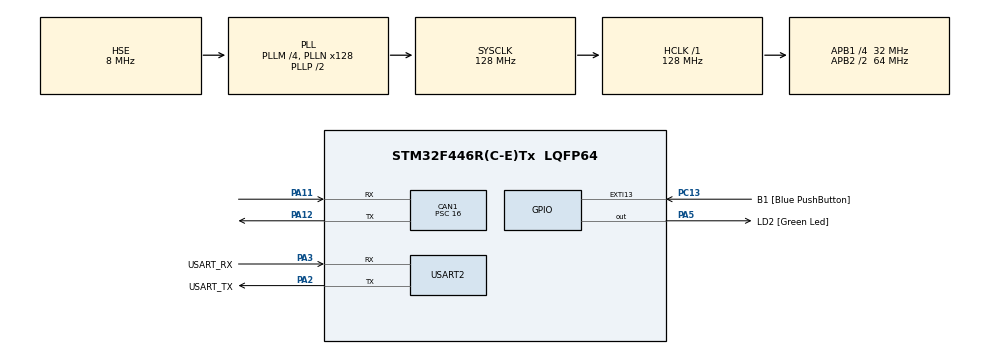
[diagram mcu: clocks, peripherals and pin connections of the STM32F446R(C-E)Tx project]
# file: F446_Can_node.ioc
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Mcu.Family=STM32F4
CAN1.NART=ENABLE
PH0-OSC_IN.Signal=RCC_OSC_IN
RCC.CortexFreq_Value=128000000
PA14.GPIO_Label=TCK
PA11.Mode=CAN_Activate
PC13.GPIO_Label=B1 [Blue PushButton]
RCC.SYSCLKSource=RCC_SYSCLKSOURCE_PLLCLK
ProjectManager.StackSize=0x400
PA12.Signal=CAN1_TX
RCC.HCLKFreq_Value=128000000
RCC.APB2TimFreq_Value=128000000
RCC.AHBFreq_Value=128000000
PH0-OSC_IN.Mode=HSE-External-Oscillator
RCC.HSE_VALUE=8000000
PA14.Mode=Serial_Wire
TIM3.Prescaler=3200
RCC.FLatency-AdvancedSettings=FLASH_LATENCY_4
PH1-OSC_OUT.Mode=HSE-External-Oscillator
CAN1.Prescaler=16
Mcu.Package=LQFP64
USART2.VirtualMode=VM_ASYNC
PA2.GPIO_Label=USART_TX
RCC.APB2CLKDivider=RCC_HCLK_DIV2
RCC.APB1TimFreq_Value=64000000
CAN1.CalculateTimeBit=8000.00
VP_TIM3_VS_ClockSourceINT.Mode=Internal
CAN1.CalculateTimeQuantum=500.0
PA3.Signal=USART2_RX
RCC.PLLSourceVirtual=RCC_PLLSOURCE_HSE
TIM3.AutoReloadPreload=TIM_AUTORELOAD_PRELOAD_DISABLE
PC13.Signal=GPXTI13
CAN1.CalculateBaudRate=125000
RCC.APB1CLKDivider=RCC_HCLK_DIV4
PA3.Mode=Asynchronous
PA13.Signal=SYS_JTMS-SWDIO
CAN1.BS2=CAN_BS2_2TQ
CAN1.BS1=CAN_BS1_13TQ
ProjectManager.TargetToolchain=STM32CubeIDE
RCC.USBFreq_Value=128000000
PA5.Signal=GPIO_Output
board=NUCLEO-F446RE
RCC.VCOOutputFreq_Value=256000000
RCC.APB2Freq_Value=64000000
PH1-OSC_OUT.Signal=RCC_OSC_OUT
PA13.Mode=Serial_Wire
Mcu.Name=STM32F446R(C-E)Tx
PA13.GPIO_Label=TMS
PA2.Signal=USART2_TX
RCC.48MHZClocksFreq_Value=84000000
RCC.SYSCLKFreq_VALUE=128000000
PA12.Mode=CAN_Activate
PA5.GPIO_Label=LD2 [Green Led]
PC13.GPIO_ModeDefaultEXTI=GPIO_MODE_IT_FALLING
PA11.Signal=CAN1_RX
PA14.Signal=SYS_JTCK-SWCLK
ProjectManager.HeapSize=0x200
RCC.HSI_VALUE=16000000
NVIC.PriorityGroup=NVIC_PRIORITYGROUP_0
RCC.PLLM=4
RCC.PLLN=128
PA2.Mode=Asynchronous
TIM3.TIM_MasterOutputTrigger=TIM_TRGO_RESET
RCC.APB1Freq_Value=32000000
VP_CRC_VS_CRC.Mode=CRC_Activate
NVIC.CAN1_RX0_IRQn=true\:0\:0\:false\:false\:true\:true\:true
PA3.GPIO_Label=USART_RX

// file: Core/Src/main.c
/* USER CODE BEGIN Header */
/**
 ******************************************************************************
 * @file           : main.c
 * @brief          : Main program body
 ******************************************************************************
 * @attention
 *
 * <h2><center>&copy; Copyright (c) 2020 STMicroelectronics.
 * All rights reserved.</center></h2>
 *
 * This software component is licensed by ST under BSD 3-Clause license,
 * the "License"; You may not use this file except in compliance with the
 * License. You may obtain a copy of the License at:
 *                        opensource.org/licenses/BSD-3-Clause
 *
 ******************************************************************************
 */
/* USER CODE END Header */
#include "main.h"
#include "can.h"
#include "crc.h"
#include "tim.h"
#include "usart.h"
#include "gpio.h"

/* USER CODE BEGIN Includes */
#include "retarget.h"
#include <stdio.h>
#include "stdbool.h"
#include <math.h>
#include "Odrive_CanIf.h"
/* USER CODE END Includes */

/* USER CODE BEGIN PD */
#define AllSystem_IN_BUSY              1
#define AllSystem_IN_NO_ACTIVE_CHILD   0
#define AllSystem_IN_RISE_INPUT_ERROR2 1
#define AllSystem_IN_SPINNING          2
#define AllSystem_IN_STEERING          3
#define AllSystem_IN_STOP              4
#define AllSystem_IN_STRAIGHT_DRIVE    5
#define AllSystem_IN_Safe_drive        2
#define AllSystem_range                0.01
/* USER CODE END PD */

/* USER CODE BEGIN PV */
uint8_t r[4];
float Vel;
int Steer_deg;

uint8_t cnt_val_8msb = 0;
uint32_t cnt_val = 0, cnt_val_prev = 0;

struct Ext_AllSystem_U{
  float sigma_in_deg;               /* '<Root>/sigma_in_deg' */
  float v_in_norm;                  /* '<Root>/v_in_norm' */
  float v_max_ms;                   /* '<Root>/v_max_ms' */
  float encoder_steer_deg[4];       /* '<Root>/alpha_feed_deg' */
} ;

struct Ext_AllSystem_Y{
  float alpha_out_deg[6];           /* '<Root>/alpha_out_deg ' */
  float w_out_rad_s[6];               /* '<Root>/w_out_rad_s ' */
  bool flag_stop;                 /* '<Root>/flag_stop' */
  bool flag_straight;             /* '<Root>/flag_straight' */
  bool flag_steering;             /* '<Root>/flag_steering' */
  bool flag_busy;                 /* '<Root>/flag_busy' */
  bool flag_spinning;             /* '<Root>/flag_spinning' */
  bool input_error_flag;          /* '<Root>/input_error_flag' */
};

struct DW_AllSystem_T{
  long temporalCounter_i1;         /* '<S1>/State_selection' */
  int is_active_c3_AllSystem;      /* '<S1>/State_selection' */
  int is_c3_AllSystem;             /* '<S1>/State_selection' */
  int is_Safe_drive;               /* '<S1>/State_selection' */
};

struct B_AllSystem_T{
  float alpha_out_rad[6];           /* '<S1>/Merge1' */
  float v_out_ms[6];                /* '<S1>/Merge' */
};

struct Ext_AllSystem_U AllSystem_U;
struct Ext_AllSystem_Y AllSystem_Y;
struct DW_AllSystem_T AllSystem_DW;
struct B_AllSystem_T AllSystem_B;
/* USER CODE END PV */

void SystemClock_Config(void);
/* USER CODE BEGIN PFP */
void send_Steer_Deg(int arg);
void send_Odrive_vel(float arg);
void Odrive_status_check(void);
/* USER CODE END PFP */

int main(void) {
	/* USER CODE BEGIN 1 */
	AllSystem_U.sigma_in_deg = 15;
	AllSystem_U.v_in_norm = 0.5;
	AllSystem_U.v_max_ms = 2;
	/* USER CODE END 1 */

	/* MCU Configuration--------------------------------------------------------*/

	/* Reset of all peripherals, Initializes the Flash interface and the Systick. */
	HAL_Init();

	/* Configure the system clock */
	SystemClock_Config();

	/* Initialize all configured peripherals */
	MX_GPIO_Init();
	MX_USART2_UART_Init();
	MX_CAN1_Init();
	MX_CRC_Init();
	MX_TIM3_Init();
	/* USER CODE BEGIN 2 */
	RetargetInit(&huart2);
	printf("Configuring Can Register ...\n");

	uint8_t Timeout = 20;
	uint8_t tx_buffer[50];
	uint8_t tx_buff_size;

	tx_buff_size = sprintf((char*) tx_buffer, "HEllo word \n");
	HAL_UART_Transmit(&huart2, tx_buffer, tx_buff_size, Timeout);

	TxHeader_Config();
	CanRxFilterConfig();

	HAL_CAN_Start(&hcan1);
	if ((HAL_CAN_ActivateNotification(&hcan1, CAN_IT_RX_FIFO0_MSG_PENDING)
			== HAL_OK))
		printf("CAN Configuring: DONE !\n\n");
	else
		printf("Can non parte\n");

	/* USER CODE END 2 */

	/* Infinite loop */
	/* USER CODE BEGIN WHILE */

	pTxHeader.IDE = CAN_ID_STD;
	pTxHeader.StdId = CanID_Generate(0x5, ODR_Reboot);

	//  int state = 8;

	r[0] = 0;
	r[1] = 0;
	r[2] = 0;
	r[3] = 0;

	if (HAL_CAN_AddTxMessage(&hcan1, &pTxHeader, r, &TxMailbox) == HAL_OK) {
		HAL_UART_Transmit(&huart2, (uint8_t*) "Odrv_reset\n", 12, 10);
	}

	HAL_Delay(100);

	//Odrive_status_check(); //check the status of the odrives before starting to send velocity data

   // start

//quasi sempre parte, ogni tanto un asse si pianta con errore sul controllere SPINOUT_DETECTED

	/*The motor mechanical power and electrical power do not agree.
	 *  This is usually caused by a slipping encoder or incorrect encoder offset calibration.
	 *   Check that your encoder is not slipping on the motor.
	 *   If using an Index pin, check that you are not getting false index pulses caused by noise.
	 *  This can happen if you are using unshielded cable for the encoder signals.
	 *
	 */
	while (1) {
		/* USER CODE END WHILE */

		/* USER CODE BEGIN 3 */
		//before send the velocity, the actuAL STATUS SHOULD BE CHECKED
		send_Odrive_vel(5);

		send_Steer_Deg(0);

		HAL_Delay(300);

//	  // SWITCH OFF
//	  pTxHeader.IDE = CAN_ID_STD;
//	  pTxHeader.StdId = CanID_Generate(0x5, ODR_Set_InputVel);
//
//	  Vel = 0.0;
//
//	  *(float*)r = Vel;  // float to 4 bytes
//
//	  if(HAL_CAN_AddTxMessage(&hcan1, &pTxHeader, r, &TxMailbox) == HAL_OK)
//	  {
//		HAL_UART_Transmit(&huart2, (uint8_t*)"S1_f - " , 6, 10);
//	  }
//
//	  pTxHeader.StdId = CanID_Generate(0x6, ODR_Set_InputVel);
//	  if(HAL_CAN_AddTxMessage(&hcan1, &pTxHeader, r, &TxMailbox) == HAL_OK)
//	  {
//		HAL_UART_Transmit(&huart2, (uint8_t*)"S2_f\n" , 6, 10);
//	  }
//
//
//	  HAL_Delay(500);
	}
	/* USER CODE END 3 */
}

void SystemClock_Config(void) {
	RCC_OscInitTypeDef RCC_OscInitStruct = { 0 };
	RCC_ClkInitTypeDef RCC_ClkInitStruct = { 0 };

	/** Configure the main internal regulator output voltage
	 */
	__HAL_RCC_PWR_CLK_ENABLE();
	__HAL_PWR_VOLTAGESCALING_CONFIG(PWR_REGULATOR_VOLTAGE_SCALE2);
	/** Initializes the RCC Oscillators according to the specified parameters
	 * in the RCC_OscInitTypeDef structure.
	 */
	RCC_OscInitStruct.OscillatorType = RCC_OSCILLATORTYPE_HSE;
	RCC_OscInitStruct.HSEState = RCC_HSE_ON;
	RCC_OscInitStruct.PLL.PLLState = RCC_PLL_ON;
	RCC_OscInitStruct.PLL.PLLSource = RCC_PLLSOURCE_HSE;
	RCC_OscInitStruct.PLL.PLLM = 4;
	RCC_OscInitStruct.PLL.PLLN = 128;
	RCC_OscInitStruct.PLL.PLLP = RCC_PLLP_DIV2;
	RCC_OscInitStruct.PLL.PLLQ = 2;
	RCC_OscInitStruct.PLL.PLLR = 2;
	if (HAL_RCC_OscConfig(&RCC_OscInitStruct) != HAL_OK) {
		Error_Handler();
	}
	/** Initializes the CPU, AHB and APB buses clocks
	 */
	RCC_ClkInitStruct.ClockType = RCC_CLOCKTYPE_HCLK | RCC_CLOCKTYPE_SYSCLK
			| RCC_CLOCKTYPE_PCLK1 | RCC_CLOCKTYPE_PCLK2;
	RCC_ClkInitStruct.SYSCLKSource = RCC_SYSCLKSOURCE_PLLCLK;
	RCC_ClkInitStruct.AHBCLKDivider = RCC_SYSCLK_DIV1;
	RCC_ClkInitStruct.APB1CLKDivider = RCC_HCLK_DIV4;
	RCC_ClkInitStruct.APB2CLKDivider = RCC_HCLK_DIV2;

	if (HAL_RCC_ClockConfig(&RCC_ClkInitStruct, FLASH_LATENCY_4) != HAL_OK) {
		Error_Handler();
	}
}

/* USER CODE BEGIN 4 */

void HAL_CAN_RxFifo0MsgPendingCallback(CAN_HandleTypeDef *hcan)

{

	if (HAL_CAN_GetRxMessage(&hcan1, CAN_RX_FIFO0, &pRxHeader, r) == HAL_OK)
		HAL_GPIO_TogglePin(LD2_GPIO_Port, LD2_Pin);

	if ((pRxHeader.StdId == 0x0A1) && (pRxHeader.IDE == CAN_ID_STD)
			&& (pRxHeader.DLC == 8)) {
		HAL_UART_Transmit(&huart2, (uint8_t*) "Odrv3\n", 7, 10);
	}

	if ((pRxHeader.ExtId == 0x00000154) && (pRxHeader.IDE == CAN_ID_EXT)
			&& (pRxHeader.DLC == 4)) {
		HAL_UART_Transmit(&huart2, (uint8_t*) "StpBrd\n", 8, 10);
	}
}

void send_Steer_Deg(int arg) {
	pTxHeader.IDE = CAN_ID_STD;
	pTxHeader.StdId = 0x140;

	int Steer_deg = arg;

	*(int*) r = Steer_deg;	 // float to bytes

	if (HAL_CAN_AddTxMessage(&hcan1, &pTxHeader, r, &TxMailbox) == HAL_OK) {
		HAL_UART_Transmit(&huart2, (uint8_t*) "steer_to_stepper\n -", 18, 10);
	}
}

void send_Odrive_vel(float arg) {

	pTxHeader.IDE = CAN_ID_STD;
	pTxHeader.StdId = CanID_Generate(0x5, ODR_Set_InputVel);

	Vel = arg;

	*(float*) r = Vel;	 // float to bytes

	if (HAL_CAN_AddTxMessage(&hcan1, &pTxHeader, r, &TxMailbox) == HAL_OK) {
		HAL_UART_Transmit(&huart2, (uint8_t*) "S1_o -", 4, 10);
	}

	pTxHeader.StdId = CanID_Generate(0x6, ODR_Set_InputVel);
	if (HAL_CAN_AddTxMessage(&hcan1, &pTxHeader, r, &TxMailbox) == HAL_OK) {
		HAL_UART_Transmit(&huart2, (uint8_t*) "S2_o\n", 6, 10);
	}
}

void Odrive_status_check(void) {
	printf("Checking Odrive Status...\n");
	pTxHeader.IDE = CAN_ID_STD;
	pTxHeader.StdId = CanID_Generate(0x5, ODR_Set_InputVel);

}

static void AllSystem_Safe_drive(const bool *bool_i, const float *Product1)
{
  float tmp_0;
  float tmp;

  /* Inport: '<Root>/sigma_in_deg' */
  tmp = fabsf(AllSystem_U.sigma_in_deg);

  /* Constant: '<S1>/sigma_max_deg' */
  if ((tmp > 35.0F) && (fabsf(tmp - 90.0F) >= AllSystem_range)) {
    AllSystem_DW.is_Safe_drive = AllSystem_IN_NO_ACTIVE_CHILD;
    AllSystem_DW.is_c3_AllSystem = AllSystem_IN_RISE_INPUT_ERROR2;

    /* Outport: '<Root>/flag_stop' */
    AllSystem_Y.flag_stop = 0;

    /* Outport: '<Root>/flag_straight' */
    AllSystem_Y.flag_straight = 0;

    /* Outport: '<Root>/flag_steering' */
    AllSystem_Y.flag_steering = 0;

    /* Outport: '<Root>/flag_busy' */
    AllSystem_Y.flag_busy = 0;

    /* Outport: '<Root>/flag_spinning' */
    AllSystem_Y.flag_spinning = 0;

    /* Outport: '<Root>/input_error_flag' */
    AllSystem_Y.input_error_flag = 1;
  } else {
    switch (AllSystem_DW.is_Safe_drive) {
     case AllSystem_IN_BUSY:
      if ((AllSystem_DW.temporalCounter_i1 >= 180000U) && (!*bool_i)) {
        AllSystem_DW.is_Safe_drive = AllSystem_IN_STOP;

        /* Outport: '<Root>/flag_stop' */
        AllSystem_Y.flag_stop = 1;

        /* Outport: '<Root>/flag_straight' */
        AllSystem_Y.flag_straight = 0;

        /* Outport: '<Root>/flag_steering' */
        AllSystem_Y.flag_steering = 0;

        /* Outport: '<Root>/flag_busy' */
        AllSystem_Y.flag_busy = 0;

        /* Outport: '<Root>/flag_spinning' */
        AllSystem_Y.flag_spinning = 0;

        /* Outport: '<Root>/input_error_flag' */
        AllSystem_Y.input_error_flag = 0;
      } else if (!*bool_i) {
        AllSystem_DW.is_Safe_drive = AllSystem_IN_BUSY;
        AllSystem_DW.temporalCounter_i1 = 0U;

        /* Outport: '<Root>/flag_stop' */
        AllSystem_Y.flag_stop = 0;

        /* Outport: '<Root>/flag_straight' */
        AllSystem_Y.flag_straight = 0;

        /* Outport: '<Root>/flag_steering' */
        AllSystem_Y.flag_steering = 0;

        /* Outport: '<Root>/flag_busy' */
        AllSystem_Y.flag_busy = 1;

        /* Outport: '<Root>/flag_spinning' */
        AllSystem_Y.flag_spinning = 0;

        /* Outport: '<Root>/input_error_flag' */
        AllSystem_Y.input_error_flag = 0;
      } else {
        AllSystem_DW.is_Safe_drive = AllSystem_IN_SPINNING;

        /* Outport: '<Root>/flag_stop' */
        AllSystem_Y.flag_stop = 0;

        /* Outport: '<Root>/flag_straight' */
        AllSystem_Y.flag_straight = 0;

        /* Outport: '<Root>/flag_steering' */
        AllSystem_Y.flag_steering = 0;

        /* Outport: '<Root>/flag_busy' */
        AllSystem_Y.flag_busy = 0;

        /* Outport: '<Root>/flag_spinning' */
        AllSystem_Y.flag_spinning = 1;

        /* Outport: '<Root>/input_error_flag' */
        AllSystem_Y.input_error_flag = 0;
      }
      break;

     case AllSystem_IN_SPINNING:
      /* Outport: '<Root>/flag_stop' */
      AllSystem_Y.flag_stop = 0;

      /* Outport: '<Root>/flag_straight' */
      AllSystem_Y.flag_straight = 0;

      /* Outport: '<Root>/flag_steering' */
      AllSystem_Y.flag_steering = 0;

      /* Outport: '<Root>/flag_busy' */
      AllSystem_Y.flag_busy = 0;

      /* Outport: '<Root>/flag_spinning' */
      AllSystem_Y.flag_spinning = 1;

      /* Outport: '<Root>/input_error_flag' */
      AllSystem_Y.input_error_flag = 0;

      /* Inport: '<Root>/sigma_in_deg' */
      if (fabsf(fabsf(AllSystem_U.sigma_in_deg) - 90.0F) >= AllSystem_range) {
        AllSystem_DW.is_Safe_drive = AllSystem_IN_STOP;

        /* Outport: '<Root>/flag_stop' */
        AllSystem_Y.flag_stop = 1;

        /* Outport: '<Root>/flag_straight' */
        AllSystem_Y.flag_straight = 0;

        /* Outport: '<Root>/flag_steering' */
        AllSystem_Y.flag_steering = 0;

        /* Outport: '<Root>/flag_busy' */
        AllSystem_Y.flag_busy = 0;

        /* Outport: '<Root>/flag_spinning' */
        AllSystem_Y.flag_spinning = 0;

        /* Outport: '<Root>/input_error_flag' */
        AllSystem_Y.input_error_flag = 0;
      }
      break;

     case AllSystem_IN_STEERING:
      /* Outport: '<Root>/flag_stop' */
      AllSystem_Y.flag_stop = 0;

      /* Outport: '<Root>/flag_straight' */
      AllSystem_Y.flag_straight = 0;

      /* Outport: '<Root>/flag_steering' */
      AllSystem_Y.flag_steering = 1;

      /* Outport: '<Root>/flag_busy' */
      AllSystem_Y.flag_busy = 0;

      /* Outport: '<Root>/flag_spinning' */
      AllSystem_Y.flag_spinning = 0;

      /* Outport: '<Root>/input_error_flag' */
      AllSystem_Y.input_error_flag = 0;

      /* Inport: '<Root>/sigma_in_deg' */
      if ((tmp <= AllSystem_range) || (tmp > 35.0F)) {
        AllSystem_DW.is_Safe_drive = AllSystem_IN_STOP;

        /* Outport: '<Root>/flag_stop' */
        AllSystem_Y.flag_stop = 1;

        /* Outport: '<Root>/flag_straight' */
        AllSystem_Y.flag_straight = 0;

        /* Outport: '<Root>/flag_steering' */
        AllSystem_Y.flag_steering = 0;

        /* Outport: '<Root>/flag_busy' */
        AllSystem_Y.flag_busy = 0;

        /* Outport: '<Root>/flag_spinning' */
        AllSystem_Y.flag_spinning = 0;

        /* Outport: '<Root>/input_error_flag' */
        AllSystem_Y.input_error_flag = 0;
      } else {
        if (fabsf(AllSystem_U.sigma_in_deg) <= AllSystem_range) {
          AllSystem_DW.is_Safe_drive = AllSystem_IN_STRAIGHT_DRIVE;

          /* Outport: '<Root>/flag_stop' */
          AllSystem_Y.flag_stop = 0;

          /* Outport: '<Root>/flag_straight' */
          AllSystem_Y.flag_straight = 1;

          /* Outport: '<Root>/flag_steering' */
          AllSystem_Y.flag_steering = 0;

          /* Outport: '<Root>/flag_busy' */
          AllSystem_Y.flag_busy = 0;

          /* Outport: '<Root>/flag_spinning' */
          AllSystem_Y.flag_spinning = 0;

          /* Outport: '<Root>/input_error_flag' */
          AllSystem_Y.input_error_flag = 0;
        }
      }
      break;

     case AllSystem_IN_STOP:
      /* Outport: '<Root>/flag_stop' */
      AllSystem_Y.flag_stop = 1;

      /* Outport: '<Root>/flag_straight' */
      AllSystem_Y.flag_straight = 0;

      /* Outport: '<Root>/flag_steering' */
      AllSystem_Y.flag_steering = 0;

      /* Outport: '<Root>/flag_busy' */
      AllSystem_Y.flag_busy = 0;

      /* Outport: '<Root>/flag_spinning' */
      AllSystem_Y.flag_spinning = 0;

      /* Outport: '<Root>/input_error_flag' */
      AllSystem_Y.input_error_flag = 0;
      if (!*bool_i) {
        AllSystem_DW.is_Safe_drive = AllSystem_IN_STOP;

        /* Outport: '<Root>/flag_stop' */
        AllSystem_Y.flag_stop = 1;

        /* Outport: '<Root>/flag_straight' */
        AllSystem_Y.flag_straight = 0;

        /* Outport: '<Root>/flag_steering' */
        AllSystem_Y.flag_steering = 0;

        /* Outport: '<Root>/flag_busy' */
        AllSystem_Y.flag_busy = 0;

        /* Outport: '<Root>/flag_spinning' */
        AllSystem_Y.flag_spinning = 0;

        /* Outport: '<Root>/input_error_flag' */
        AllSystem_Y.input_error_flag = 0;
      } else {
        /* Inport: '<Root>/sigma_in_deg' */
        tmp_0 = fabsf(AllSystem_U.sigma_in_deg);

        /* Inport: '<Root>/sigma_in_deg' */
        if ((tmp_0 >= AllSystem_range) && (tmp < 35.0F)) {
          AllSystem_DW.is_Safe_drive = AllSystem_IN_STEERING;

          /* Outport: '<Root>/flag_stop' */
          AllSystem_Y.flag_stop = 0;

          /* Outport: '<Root>/flag_straight' */
          AllSystem_Y.flag_straight = 0;

          /* Outport: '<Root>/flag_steering' */
          AllSystem_Y.flag_steering = 1;

          /* Outport: '<Root>/flag_busy' */
          AllSystem_Y.flag_busy = 0;

          /* Outport: '<Root>/flag_spinning' */
          AllSystem_Y.flag_spinning = 0;

          /* Outport: '<Root>/input_error_flag' */
          AllSystem_Y.input_error_flag = 0;
        } else if (fabsf(fabsf(AllSystem_U.sigma_in_deg) - 90.0F) <=
                   AllSystem_range) {
          AllSystem_DW.is_Safe_drive = AllSystem_IN_BUSY;
          AllSystem_DW.temporalCounter_i1 = 0U;

          /* Outport: '<Root>/flag_stop' */
          AllSystem_Y.flag_stop = 0;

          /* Outport: '<Root>/flag_straight' */
          AllSystem_Y.flag_straight = 0;

          /* Outport: '<Root>/flag_steering' */
          AllSystem_Y.flag_steering = 0;

          /* Outport: '<Root>/flag_busy' */
          AllSystem_Y.flag_busy = 1;

          /* Outport: '<Root>/flag_spinning' */
          AllSystem_Y.flag_spinning = 0;

          /* Outport: '<Root>/input_error_flag' */
          AllSystem_Y.input_error_flag = 0;
        } else {
          if ((fabsf(*Product1) >= AllSystem_range) && (tmp_0 <= AllSystem_range))
          {
            AllSystem_DW.is_Safe_drive = AllSystem_IN_STRAIGHT_DRIVE;

            /* Outport: '<Root>/flag_stop' */
            AllSystem_Y.flag_stop = 0;

            /* Outport: '<Root>/flag_straight' */
            AllSystem_Y.flag_straight = 1;

            /* Outport: '<Root>/flag_steering' */
            AllSystem_Y.flag_steering = 0;

            /* Outport: '<Root>/flag_busy' */
            AllSystem_Y.flag_busy = 0;

            /* Outport: '<Root>/flag_spinning' */
            AllSystem_Y.flag_spinning = 0;

            /* Outport: '<Root>/input_error_flag' */
            AllSystem_Y.input_error_flag = 0;
          }
        }
      }
      break;

     default:
      /* Outport: '<Root>/flag_stop' */
      /* case IN_STRAIGHT_DRIVE: */
      AllSystem_Y.flag_stop = 0;

      /* Outport: '<Root>/flag_straight' */
      AllSystem_Y.flag_straight = 1;

      /* Outport: '<Root>/flag_steering' */
      AllSystem_Y.flag_steering = 0;

      /* Outport: '<Root>/flag_busy' */
      AllSystem_Y.flag_busy = 0;

      /* Outport: '<Root>/flag_spinning' */
      AllSystem_Y.flag_spinning = 0;

      /* Outport: '<Root>/input_error_flag' */
      AllSystem_Y.input_error_flag = 0;

      /* Inport: '<Root>/sigma_in_deg' */
      tmp_0 = fabsf(AllSystem_U.sigma_in_deg);
      if ((tmp_0 >= AllSystem_range) && (tmp < 35.0F)) {
        AllSystem_DW.is_Safe_drive = AllSystem_IN_STEERING;

        /* Outport: '<Root>/flag_stop' */
        AllSystem_Y.flag_stop = 0;

        /* Outport: '<Root>/flag_straight' */
        AllSystem_Y.flag_straight = 0;

        /* Outport: '<Root>/flag_steering' */
        AllSystem_Y.flag_steering = 1;

        /* Outport: '<Root>/flag_busy' */
        AllSystem_Y.flag_busy = 0;

        /* Outport: '<Root>/flag_spinning' */
        AllSystem_Y.flag_spinning = 0;

        /* Outport: '<Root>/input_error_flag' */
        AllSystem_Y.input_error_flag = 0;
      } else {
        if ((fabsf(*Product1) <= AllSystem_range) || (tmp_0 >= AllSystem_range))
        {
          AllSystem_DW.is_Safe_drive = AllSystem_IN_STOP;

          /* Outport: '<Root>/flag_stop' */
          AllSystem_Y.flag_stop = 1;

          /* Outport: '<Root>/flag_straight' */
          AllSystem_Y.flag_straight = 0;

          /* Outport: '<Root>/flag_steering' */
          AllSystem_Y.flag_steering = 0;

          /* Outport: '<Root>/flag_busy' */
          AllSystem_Y.flag_busy = 0;

          /* Outport: '<Root>/flag_spinning' */
          AllSystem_Y.flag_spinning = 0;

          /* Outport: '<Root>/input_error_flag' */
          AllSystem_Y.input_error_flag = 0;
        }
      }
      break;
    }
  }

  /* End of Constant: '<S1>/sigma_max_deg' */
}

void AllSystem_step(void) {

  int i;
  float rtb_alpha[6];
  float rtb_alpha_k[6];
  float Product1;
  float rtb_alpha_tmp;
  float rtb_sigma_in_rad;

  bool bool_i;

  /* Product: '<S1>/Product1' incorporates:
   *  Inport: '<Root>/v_in_norm'
   *  Inport: '<Root>/v_max_ms'
   */
  Product1 = AllSystem_U.v_in_norm * AllSystem_U.v_max_ms;

  bool_i = ((fabsf(AllSystem_U.encoder_steer_deg[0] - AllSystem_Y.alpha_out_deg
                   [0]) <= 0.5F) || (fabsf(AllSystem_U.encoder_steer_deg[1] -
              AllSystem_Y.alpha_out_deg[1]) <= 0.5F) || (fabsf
             (AllSystem_U.encoder_steer_deg[2] - AllSystem_Y.alpha_out_deg[4]) <=
             0.5F) || (fabsf(AllSystem_U.encoder_steer_deg[3] -
              AllSystem_Y.alpha_out_deg[5]) <= 0.5F));
  if (AllSystem_DW.temporalCounter_i1 < 262143U) {
    AllSystem_DW.temporalCounter_i1++;
  }

// BYPASS OF ENCODER
bool_i = 1;

  if (AllSystem_DW.is_active_c3_AllSystem == 0U) {
    AllSystem_DW.is_active_c3_AllSystem = 1U;
    AllSystem_DW.is_c3_AllSystem = AllSystem_IN_Safe_drive;
    AllSystem_DW.is_Safe_drive = AllSystem_IN_STOP;

    /* Outport: '<Root>/flag_stop' */
    AllSystem_Y.flag_stop = 1;

    /* Outport: '<Root>/flag_straight' */
    AllSystem_Y.flag_straight = 0;

    /* Outport: '<Root>/flag_steering' */
    AllSystem_Y.flag_steering = 0;

    /* Outport: '<Root>/flag_busy' */
    AllSystem_Y.flag_busy = 0;

    /* Outport: '<Root>/flag_spinning' */
    AllSystem_Y.flag_spinning = 0;

    /* Outport: '<Root>/input_error_flag' */
    AllSystem_Y.input_error_flag = 0;
  } else if (AllSystem_DW.is_c3_AllSystem == AllSystem_IN_RISE_INPUT_ERROR2) {
    /* Outport: '<Root>/flag_stop' */
    AllSystem_Y.flag_stop = 0;

    /* Outport: '<Root>/flag_straight' */
    AllSystem_Y.flag_straight = 0;

    /* Outport: '<Root>/flag_steering' */
    AllSystem_Y.flag_steering = 0;

    /* Outport: '<Root>/flag_busy' */
    AllSystem_Y.flag_busy = 0;

    /* Outport: '<Root>/flag_spinning' */
    AllSystem_Y.flag_spinning = 0;

    /* Outport: '<Root>/input_error_flag' */
    AllSystem_Y.input_error_flag = 1;

  rtb_sigma_in_rad = fabsf(AllSystem_U.sigma_in_deg);
    if ((rtb_sigma_in_rad <= 35.0F) || (fabsf(rtb_sigma_in_rad - 90.0F) <=
         AllSystem_range)) {
      AllSystem_DW.is_c3_AllSystem = AllSystem_IN_Safe_drive;
      AllSystem_DW.is_Safe_drive = AllSystem_IN_STOP;

      /* Outport: '<Root>/flag_stop' */
      AllSystem_Y.flag_stop = 1;

      /* Outport: '<Root>/flag_straight' */
      AllSystem_Y.flag_straight = 0;

      /* Outport: '<Root>/flag_steering' */
      AllSystem_Y.flag_steering = 0;

      /* Outport: '<Root>/flag_busy' */
      AllSystem_Y.flag_busy = 0;

      /* Outport: '<Root>/flag_spinning' */
      AllSystem_Y.flag_spinning = 0;

      /* Outport: '<Root>/input_error_flag' */
      AllSystem_Y.input_error_flag = 0;
      }
    }

else {
    /* case IN_Safe_drive: */
    AllSystem_Safe_drive(&bool_i, &Product1);
  }

if (AllSystem_Y.flag_straight) {
    /* Merge: '<S1>/Merge1' incorporates:
     *  Constant: '<S6>/Constant'
     *  SignalConversion generated from: '<S6>/alpha_out_rad'
     */
    AllSystem_B.alpha_out_rad[0] = 0.0F;
    AllSystem_B.alpha_out_rad[1] = 0.0F;
    AllSystem_B.alpha_out_rad[2] = 0.0F;
    AllSystem_B.alpha_out_rad[3] = 0.0F;
    AllSystem_B.alpha_out_rad[4] = 0.0F;
    AllSystem_B.alpha_out_rad[5] = 0.0F;

    /* Merge: '<S1>/Merge' incorporates:
     *  Inport: '<S6>/v_in'
     *  SignalConversion generated from: '<S6>/v_out_ms'
     */
    AllSystem_B.v_out_ms[0] = Product1;
    AllSystem_B.v_out_ms[1] = Product1;
    AllSystem_B.v_out_ms[2] = Product1;
    AllSystem_B.v_out_ms[3] = Product1;
    AllSystem_B.v_out_ms[4] = Product1;
    AllSystem_B.v_out_ms[5] = Product1;
  }

  /* End of Outputs for SubSystem: '<S1>/Straight Mode' */

  /* Outputs for Enabled SubSystem: '<S1>/Steering Mode (Ackerman)' incorporates:
   *  EnablePort: '<S4>/Enable'
   */
  /* Outport: '<Root>/flag_steering' */
  if (AllSystem_Y.flag_steering) {
    /* Gain: '<S4>/Gain' incorporates:
     *  Inport: '<Root>/sigma_in_deg'
     */
    rtb_sigma_in_rad = 0.0174532924F * AllSystem_U.sigma_in_deg;

    /* MATLAB Function: '<S4>/Ackerman_angles' incorporates:
     *  Constant: '<S1>/a_m'
     *  Constant: '<S1>/d_m'
     *  Constant: '<S1>/e_m'
     */
    rtb_alpha_tmp = tanf(rtb_sigma_in_rad);
    rtb_alpha[0] = atanf(0.606F / (0.606F / rtb_alpha_tmp + 0.39F));
    rtb_alpha[1] = atanf(0.606F / (0.606F / tanf(rtb_sigma_in_rad) - 0.39F));
    rtb_alpha[2] = 0.0F;
    rtb_alpha[3] = 0.0F;
    rtb_alpha[4] = -atanf(0.593F / (0.593F / rtb_alpha_tmp + 0.39F));
    rtb_alpha[5] = -atanf(0.593F / (0.593F / tanf(rtb_sigma_in_rad) - 0.39F));

    /* MATLAB Function: '<S4>/Ackerman_velocities' incorporates:
     *  Merge: '<S1>/Merge'
     */
    rtb_sigma_in_rad = sinf(rtb_sigma_in_rad);
    AllSystem_B.v_out_ms[0] = fabsf(sinf(rtb_alpha[0]) / rtb_sigma_in_rad) *
      Product1;
    AllSystem_B.v_out_ms[1] = fabsf(sinf(rtb_alpha[1]) / rtb_sigma_in_rad) *
      Product1;
    AllSystem_B.v_out_ms[2] = Product1;
    AllSystem_B.v_out_ms[3] = Product1;
    AllSystem_B.v_out_ms[4] = fabsf(sinf(rtb_alpha[4]) / rtb_sigma_in_rad) *
      Product1;
    AllSystem_B.v_out_ms[5] = fabsf(sinf(rtb_alpha[5]) / rtb_sigma_in_rad) *
      Product1;
    for (i = 0; i < 6; i++) {
      /* Merge: '<S1>/Merge1' incorporates:
       *  SignalConversion generated from: '<S4>/alpha_out_rad'
       */
      AllSystem_B.alpha_out_rad[i] = rtb_alpha[i];
    }
  }

  /* End of Outputs for SubSystem: '<S1>/Steering Mode (Ackerman)' */

  /* Outputs for Enabled SubSystem: '<S1>/Spinning Mode' incorporates:
   *  EnablePort: '<S2>/Enable'
   */
  /* Logic: '<S1>/OR' incorporates:
   *  Outport: '<Root>/flag_busy'
   *  Outport: '<Root>/flag_spinning'
   */
  if (AllSystem_Y.flag_spinning || AllSystem_Y.flag_busy) {
    /* MATLAB Function: '<S2>/MATLAB Function' incorporates:
     *  Constant: '<S1>/a_m'
     *  Constant: '<S1>/d_m'
     *  Constant: '<S1>/e_m'
     */
    for (i = 0; i < 6; i++) {
      AllSystem_B.v_out_ms[i] = 0.0F;
    }

    if (!AllSystem_Y.flag_busy) {
      AllSystem_B.v_out_ms[0] = Product1 * 0.720649719F;
      AllSystem_B.v_out_ms[1] = -AllSystem_B.v_out_ms[0];
      AllSystem_B.v_out_ms[2] = Product1 * 0.39F;
      AllSystem_B.v_out_ms[3] = -AllSystem_B.v_out_ms[2];
      AllSystem_B.v_out_ms[4] = Product1 * 0.709752738F;
      AllSystem_B.v_out_ms[5] = -AllSystem_B.v_out_ms[4];
    }

    /* End of MATLAB Function: '<S2>/MATLAB Function' */

    /* MATLAB Function: '<S2>/Spinning_angles' incorporates:
     *  Constant: '<S1>/a_m'
     *  Constant: '<S1>/d_m'
     *  Constant: '<S1>/e_m'
     */
    rtb_alpha_k[0] = 0.998958647F;
    rtb_alpha_k[1] = -0.998958647F;
    rtb_alpha_k[2] = 0.0F;
    rtb_alpha_k[3] = 0.0F;
    rtb_alpha_k[4] = -0.989046097F;
    rtb_alpha_k[5] = 0.989046097F;
    for (i = 0; i < 6; i++) {
      /* Merge: '<S1>/Merge1' incorporates:
       *  SignalConversion generated from: '<S2>/alpha_out_rad'
       */
      AllSystem_B.alpha_out_rad[i] = rtb_alpha_k[i];
    }
  }

  /* End of Logic: '<S1>/OR' */
  /* End of Outputs for SubSystem: '<S1>/Spinning Mode' */

  /* Outputs for Enabled SubSystem: '<S1>/Stop Mode' incorporates:
   *  EnablePort: '<S5>/Enable'
   */
  /* Outport: '<Root>/flag_stop' */
  if (AllSystem_Y.flag_stop) {
    /* Merge: '<S1>/Merge1' incorporates:
     *  Constant: '<S5>/Constant'
     *  SignalConversion generated from: '<S5>/alpha_out_rad'
     */
    AllSystem_B.alpha_out_rad[0] = 0.0F;
    AllSystem_B.alpha_out_rad[1] = 0.0F;
    AllSystem_B.alpha_out_rad[2] = 0.0F;
    AllSystem_B.alpha_out_rad[3] = 0.0F;
    AllSystem_B.alpha_out_rad[4] = 0.0F;
    AllSystem_B.alpha_out_rad[5] = 0.0F;

    /* Merge: '<S1>/Merge' incorporates:
     *  Constant: '<S5>/Constant1'
     *  SignalConversion generated from: '<S5>/v_out_ms'
     */
    AllSystem_B.v_out_ms[0] = 0.0F;
    AllSystem_B.v_out_ms[1] = 0.0F;
    AllSystem_B.v_out_ms[2] = 0.0F;
    AllSystem_B.v_out_ms[3] = 0.0F;
    AllSystem_B.v_out_ms[4] = 0.0F;
    AllSystem_B.v_out_ms[5] = 0.0F;
  }

  /* End of Outputs for SubSystem: '<S1>/Stop Mode' */
  for (i = 0; i < 6; i++) {
    /* Gain: '<S1>/Gain1' incorporates:
     *  UnitDelay: '<S1>/Unit Delay'
     */
    AllSystem_Y.alpha_out_deg[i] = 57.2957802F * AllSystem_B.alpha_out_rad[i];

    /* Outport: '<Root>/w_out_rad_s ' incorporates:
     *  Constant: '<S1>/R_m '
     *  Product: '<S1>/Product'
     */
    AllSystem_Y.w_out_rad_s[i] = AllSystem_B.v_out_ms[i] / 0.35;
  }

}
/* USER CODE END 4 */

void Error_Handler(void) {
	/* USER CODE BEGIN Error_Handler_Debug */
	/* User can add his own implementation to report the HAL error return state */
	printf("Someting wrong in Initialization !");
	/* USER CODE END Error_Handler_Debug */
}

/************************ (C) COPYRIGHT STMicroelectronics *****END OF FILE****/
